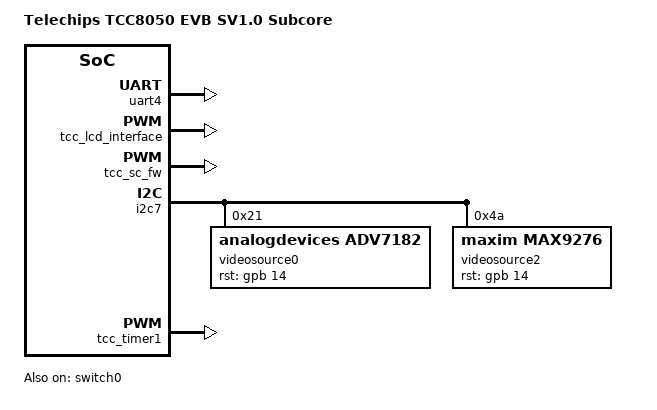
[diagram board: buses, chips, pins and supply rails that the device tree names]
// SPDX-License-Identifier: (GPL-2.0-or-later OR MIT)
/*
 * Copyright (C) Telechips Inc.
 */

/dts-v1/;

#include "tcc805x.dtsi"
#include "tcc8050_53-pinctrl.dtsi"

/ {
	model = "Telechips TCC8050 EVB SV1.0 Subcore";
	interrupt-parent = <&gic1>;
};

&chosen {
	stdout-path = &uart4;
};

&config {
	u-boot,mmc-env-partition = "subcore_env";
	u-boot,scsi-env-partition = "subcore_env";
};

&memory {
	reg = <0x40000000 0x20000000>;
};

&cpus {
	cpu@4 {
		status = "okay";
	};
};

&gic1 {
	status = "okay";
};

&uart4 {
	pinctrl-names = "default";
	pinctrl-0 = <&uart9_data>;
	status = "okay";
	u-boot,dm-pre-reloc;
};

&tcc_lcd_interface {
	board-type = <2>;
	status = "okay";
};

&mbox1 {
	status = "okay";
	u-boot,dm-pre-reloc;
};

&tcc_sc_fw {
	status = "okay";
	mboxes = <&mbox1 0>;
	u-boot,dm-pre-reloc;

	tcc_sc_mmc {
		status = "okay";
		u-boot,dm-pre-reloc;
	};
};

&i2c7 {
	pinctrl-names = "default";
	pinctrl-0 = <&i2c12_bus>;
	port-mux = <12>;
	status = "okay";

	videosource0: videodecoder_adv7182 {
		compatible	= "analogdevices,adv7182";
		pinctrl-names	= "idle", "active";
		pinctrl-0	= <&cam0_idle>;
		pinctrl-1	= <&cam0_rst &cam0_clk &cam0_hsync &cam0_vsync
				   &cam0_fld &cam0_de &cam0_data>;
		rst-gpios	= <&gpb 14 GPIO_ACTIVE_HIGH>;
		reg		= <0x21>;	// 0x42 >> 1
		cifport		= <0>;
	};
#if 1
	videosource2: deserializer_max9276 {
		compatible	= "maxim,max9276";
		pinctrl-names	= "idle", "active";
		pinctrl-0	= <&cam0_idle>;
		pinctrl-1	= <&cam0_rst &cam0_clk &cam0_hsync &cam0_vsync
				   &cam0_fld &cam0_de &cam0_data>;
		rst-gpios	= <&gpb 14 GPIO_ACTIVE_HIGH>;
		reg		= <0x4A>;	// 0x94 >> 1
		cifport		= <0>;
	};
#else
	videosource2: deserializer_max9276 {
		compatible	= "maxim,max9276";
		pinctrl-names	= "idle", "active";
		pinctrl-0	= <&cam1_idle>;
		pinctrl-1	= <&cam1_rst &cam1_clk &cam1_hsync &cam1_vsync
				   &cam1_fld &cam1_de &cam1_data>;
		rst-gpios	= <&gpma 21 GPIO_ACTIVE_HIGH>;
		reg		= <0x4A>;	// 0x94 >> 1
		cifport		= <1>;
	};
#endif
};

&switch0 {
	status = "okay";

	pinctrl-names = "default";
	pinctrl-0 = <&switch_c13>;

	switch-gpios = <&gpc 13 1>;
	switch-active = <1>;
};

&tcc_timer0 {
	/* disable dummy timer on Cortex-A53 subcore */
	status = "disabled";
};

&tcc_timer1 {
	/* for earlycamera */
	status = "okay";
};

